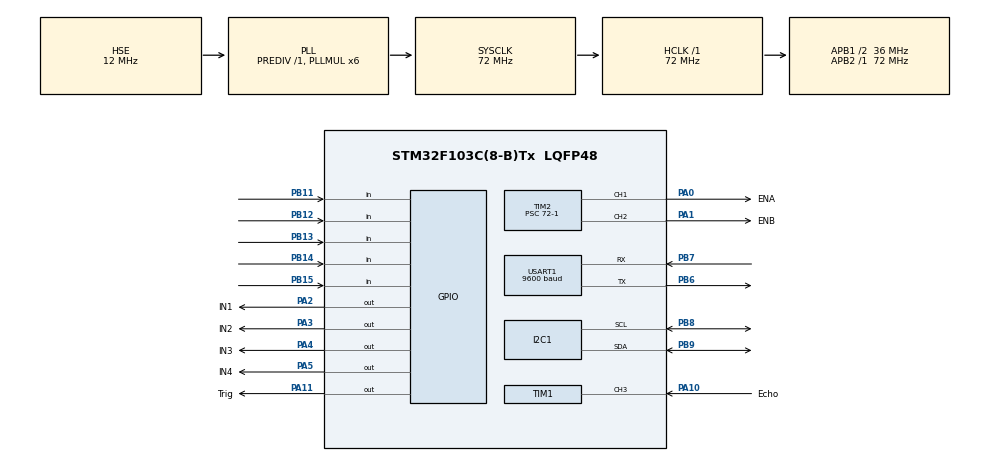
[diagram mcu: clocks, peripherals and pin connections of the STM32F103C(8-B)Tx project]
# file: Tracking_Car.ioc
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Dma.Request0=USART1_RX
Dma.USART1_RX.0.Direction=DMA_PERIPH_TO_MEMORY
Dma.USART1_RX.0.Instance=DMA1_Channel5
Dma.USART1_RX.0.MemDataAlignment=DMA_MDATAALIGN_BYTE
Dma.USART1_RX.0.MemInc=DMA_MINC_ENABLE
Dma.USART1_RX.0.Mode=DMA_NORMAL
Dma.USART1_RX.0.PeriphDataAlignment=DMA_PDATAALIGN_BYTE
Dma.USART1_RX.0.PeriphInc=DMA_PINC_DISABLE
Dma.USART1_RX.0.Priority=DMA_PRIORITY_LOW
I2C1.I2C_Mode=I2C_Fast
Mcu.Family=STM32F1
Mcu.Name=STM32F103C(8-B)Tx
Mcu.Package=LQFP48
NVIC.DMA1_Channel5_IRQn=true\:0\:0\:false\:false\:true\:false\:true\:true
NVIC.PriorityGroup=NVIC_PRIORITYGROUP_4
NVIC.TIM1_CC_IRQn=true\:0\:0\:false\:false\:true\:true\:true\:true
NVIC.USART1_IRQn=true\:0\:0\:false\:false\:true\:true\:true\:true
PA0-WKUP.GPIO_Label=ENA
PA0-WKUP.Signal=S_TIM2_CH1_ETR
PA1.GPIO_Label=ENB
PA1.Signal=S_TIM2_CH2
PA10.GPIO_Label=Echo
PA10.Signal=S_TIM1_CH3
PA11.GPIO_Label=Trig
PA11.Signal=GPIO_Output
PA13.Mode=Serial_Wire
PA13.Signal=SYS_JTMS-SWDIO
PA14.Mode=Serial_Wire
PA14.Signal=SYS_JTCK-SWCLK
PA2.GPIO_Label=IN1
PA2.Signal=GPIO_Output
PA3.GPIO_Label=IN2
PA3.Signal=GPIO_Output
PA4.GPIO_Label=IN3
PA4.Signal=GPIO_Output
PA5.GPIO_Label=IN4
PA5.Signal=GPIO_Output
PB11.Signal=GPIO_Input
PB12.Signal=GPIO_Input
PB13.Signal=GPIO_Input
PB14.Signal=GPIO_Input
PB15.Signal=GPIO_Input
PB6.Mode=Asynchronous
PB6.Signal=USART1_TX
PB7.Mode=Asynchronous
PB7.Signal=USART1_RX
PB8.Mode=I2C
PB8.Signal=I2C1_SCL
PB9.Mode=I2C
PB9.Signal=I2C1_SDA
PD0-OSC_IN.Mode=HSE-External-Oscillator
PD0-OSC_IN.Signal=RCC_OSC_IN
PD1-OSC_OUT.Mode=HSE-External-Oscillator
PD1-OSC_OUT.Signal=RCC_OSC_OUT
ProjectManager.HeapSize=0x200
ProjectManager.StackSize=0x400
ProjectManager.TargetToolchain=MDK-ARM V5.32
RCC.AHBFreq_Value=72000000
RCC.APB1CLKDivider=RCC_HCLK_DIV2
RCC.APB1Freq_Value=36000000
RCC.APB1TimFreq_Value=72000000
RCC.APB2Freq_Value=72000000
RCC.APB2TimFreq_Value=72000000
RCC.HCLKFreq_Value=72000000
RCC.HSE_VALUE=12000000
RCC.PLLMUL=RCC_PLL_MUL6
RCC.PLLSourceVirtual=RCC_PLLSOURCE_HSE
RCC.SYSCLKFreq_VALUE=72000000
RCC.SYSCLKSource=RCC_SYSCLKSOURCE_PLLCLK
RCC.USBFreq_Value=72000000
SH.S_TIM1_CH3.0=TIM1_CH3,Input_Capture3_from_TI3
SH.S_TIM2_CH1_ETR.0=TIM2_CH1,PWM Generation1 CH1
SH.S_TIM2_CH2.0=TIM2_CH2,PWM Generation2 CH2
TIM1.Channel-Input_Capture3_from_TI3=TIM_CHANNEL_3
TIM1.Channel-Input_Capture4_from_TI3_63=TIM_CHANNEL_4
TIM1.ICPolarity_CH4=TIM_INPUTCHANNELPOLARITY_FALLING
TIM1.Prescaler=72
TIM2.Channel-PWM\ Generation1\ CH1=TIM_CHANNEL_1
TIM2.Channel-PWM\ Generation2\ CH2=TIM_CHANNEL_2
TIM2.Period=1000-1
TIM2.Prescaler=72-1
USART1.BaudRate=9600
USART1.VirtualMode=VM_ASYNC
VP_TIM1_VS_ClockSourceINT.Mode=Internal
VP_TIM1_VS_indirect_ch3.Mode=Input_Capture4_from_TI3_63
VP_TIM2_VS_ClockSourceINT.Mode=Internal
board=custom

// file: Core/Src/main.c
/* USER CODE BEGIN Header */
/**
  ******************************************************************************
  * @file           : main.c
  * @brief          : Main program body
  ******************************************************************************
  * @attention
  *
  * Copyright (c) 2025 STMicroelectronics.
  * All rights reserved.
  *
  * This software is licensed under terms that can be found in the LICENSE file
  * in the root directory of this software component.
  * If no LICENSE file comes with this software, it is provided AS-IS.
  *
  ******************************************************************************
  */
/* USER CODE END Header */
#include "main.h"
#include "dma.h"
#include "i2c.h"
#include "tim.h"
#include "usart.h"
#include "gpio.h"

/* USER CODE BEGIN Includes */
#include "motor.h"
#include "hcsr04.h"
#include "tracker.h" // ?????? tracker.h
#include "remote.h"
#include "ui.h"
#include "global_state.h"
#include <stdio.h>
#include "usart.h"
/* USER CODE END Includes */

void SystemClock_Config(void);

/* USER CODE BEGIN 0 */
uint32_t timer_ui = 0;
uint32_t timer_telemetry = 0;
/* USER CODE END 0 */

int main(void)
{

  /* MCU Configuration--------------------------------------------------------*/

  /* Reset of all peripherals, Initializes the Flash interface and the Systick. */
  HAL_Init();

  /* Configure the system clock */
  SystemClock_Config();

  /* Initialize all configured peripherals */
  MX_GPIO_Init();
  MX_DMA_Init();
  MX_I2C1_Init();
  MX_TIM1_Init();
  MX_TIM2_Init();
  MX_USART1_UART_Init();
  /* USER CODE BEGIN 2 */

UI_Init();
  Motor_Init();
  HCSR04_Init();
  Tracker_Init();
  Remote_Init(); // ????

  g_CarState = STATE_RUNNING;

  /* USER CODE END 2 */

  /* Infinite loop */
  while (1)
  {

    /* USER CODE BEGIN 3 */
		if (g_CarMode == MODE_AUTO) {
        // 自动模式下执行循迹
        Tracker_Loop();
    }
    else if (g_CarMode == MODE_MANUAL) {
        // 手动模式下执行遥控
        Remote_ManualLoop();
    }

    // 2. 数据回传任务 (建议 50ms - 100ms 一次)
    // 必须频繁调用，因为 Remote_SendTelemetry 内部有 200ms 的非阻塞限流
    Remote_SendTelemetry();

    // 3. UI 刷新任务 (建议 100ms - 200ms 一次，避免占用过多 CPU)
    if (HAL_GetTick() - timer_ui >= 150) {
        timer_ui = HAL_GetTick();
        UI_Update();
    }

  }
  /* USER CODE END 3 */
}

void SystemClock_Config(void)
{
  RCC_OscInitTypeDef RCC_OscInitStruct = {0};
  RCC_ClkInitTypeDef RCC_ClkInitStruct = {0};

  /** Initializes the RCC Oscillators according to the specified parameters
  * in the RCC_OscInitTypeDef structure.
  */
  RCC_OscInitStruct.OscillatorType = RCC_OSCILLATORTYPE_HSE;
  RCC_OscInitStruct.HSEState = RCC_HSE_ON;
  RCC_OscInitStruct.HSEPredivValue = RCC_HSE_PREDIV_DIV1;
  RCC_OscInitStruct.HSIState = RCC_HSI_ON;
  RCC_OscInitStruct.PLL.PLLState = RCC_PLL_ON;
  RCC_OscInitStruct.PLL.PLLSource = RCC_PLLSOURCE_HSE;
  RCC_OscInitStruct.PLL.PLLMUL = RCC_PLL_MUL6;
  if (HAL_RCC_OscConfig(&RCC_OscInitStruct) != HAL_OK)
  {
    Error_Handler();
  }

  /** Initializes the CPU, AHB and APB buses clocks
  */
  RCC_ClkInitStruct.ClockType = RCC_CLOCKTYPE_HCLK|RCC_CLOCKTYPE_SYSCLK
                              |RCC_CLOCKTYPE_PCLK1|RCC_CLOCKTYPE_PCLK2;
  RCC_ClkInitStruct.SYSCLKSource = RCC_SYSCLKSOURCE_PLLCLK;
  RCC_ClkInitStruct.AHBCLKDivider = RCC_SYSCLK_DIV1;
  RCC_ClkInitStruct.APB1CLKDivider = RCC_HCLK_DIV2;
  RCC_ClkInitStruct.APB2CLKDivider = RCC_HCLK_DIV1;

  if (HAL_RCC_ClockConfig(&RCC_ClkInitStruct, FLASH_LATENCY_2) != HAL_OK)
  {
    Error_Handler();
  }
}

/* USER CODE BEGIN 4 */

// ?????
#ifdef __GNUC__
#define PUTCHAR_PROTOTYPE int __io_putchar(int ch)
#else
#define PUTCHAR_PROTOTYPE int fputc(int ch, FILE *f)
#endif
PUTCHAR_PROTOTYPE {
  HAL_UART_Transmit(&huart1, (uint8_t *)&ch, 1, 10);
  return ch;
}

// ?? DMA ??
void HAL_UARTEx_RxEventCallback(UART_HandleTypeDef *huart, uint16_t Size) {
    Remote_UART_EventCallback(huart, Size);
}
void HAL_TIM_IC_CaptureCallback(TIM_HandleTypeDef *htim) {
    HCSR04_TimIC_Callback(htim);
}
/* USER CODE END 4 */

void Error_Handler(void)
{
  __disable_irq();
  while (1)
  {
  }
}
